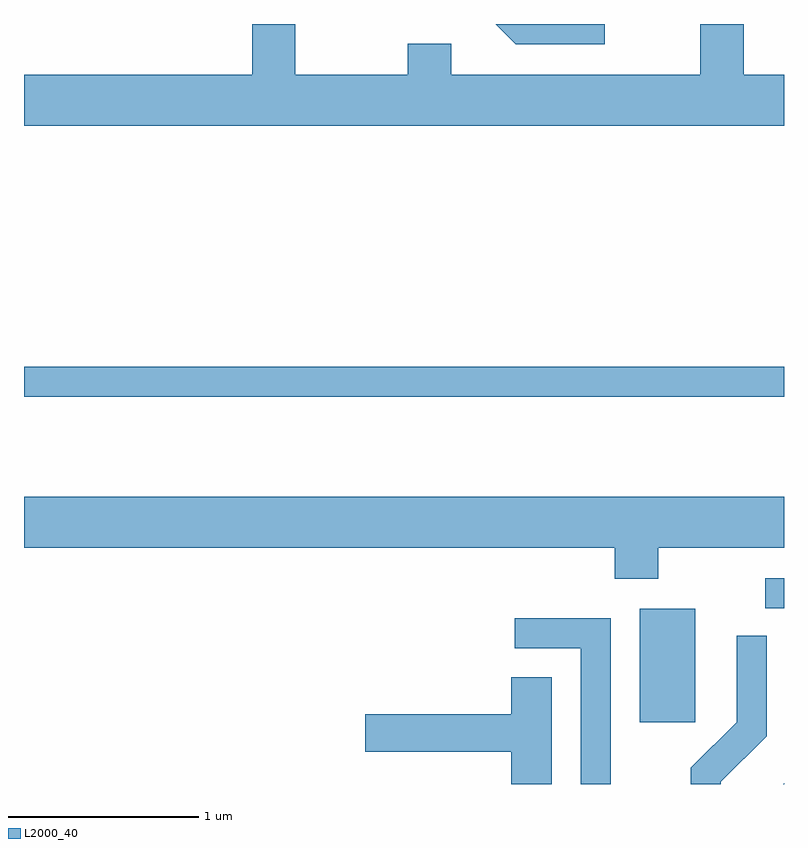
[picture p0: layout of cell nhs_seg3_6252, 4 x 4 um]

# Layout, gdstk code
import gdstk
lib = gdstk.Library(unit=1e-6, precision=1e-09)
def R(c, l, rs):  # rectangles x0, y0, x1, y1
    for r in rs: c.add(gdstk.rectangle(r[:2], r[2:], *l))
def P(c, l, *ps):  # polygons
    for p in ps: c.add(gdstk.Polygon(p, *l))
L2000_40 = (2000, 40)

nhs_seg3_6252 = lib.new_cell('nhs_seg3_6252')
R(nhs_seg3_6252, L2000_40, [(372.851,1116.216,373.144,1116.814), (373.513,1116.816,373.611,1116.974), (369.611,1117.931,373.611,1118.089)])
P(nhs_seg3_6252, L2000_40, [(373.611,1119.624),(373.399,1119.624),(373.399,1119.892),(373.171,1119.892),(373.171,1119.624),(371.859,1119.624),(371.859,1119.789),(371.631,1119.789),(371.631,1119.624),(371.039,1119.624),(371.039,1119.892),(370.811,1119.892),(370.811,1119.624),(369.611,1119.624),(369.611,1119.356),(373.611,1119.356)],
  [(372.668,1119.892),(372.093,1119.892),(372.199,1119.786),(372.668,1119.786)],
  [(372.949,1117.136),(373.611,1117.136),(373.611,1117.404),(369.611,1117.404),(369.611,1117.136),(372.721,1117.136),(372.721,1116.971),(372.949,1116.971)],
  [(372.699,1116.764),(372.193,1116.764),(372.193,1116.606),(372.541,1116.606),(372.541,1115.892),(372.699,1115.892)],
  [(373.279,1115.904),(373.519,1116.144),(373.519,1116.673),(373.361,1116.673),(373.361,1116.217),(373.121,1115.977),(373.121,1115.892),(373.279,1115.892)],
  [(372.389,1116.454),(372.176,1116.454),(372.176,1116.259),(371.406,1116.259),(371.406,1116.061),(372.176,1116.061),(372.176,1115.892),(372.389,1115.892)],
  [(373.611,1115.896),(373.607,1115.892),(373.611,1115.892)])

lib.write_gds('nhs_seg3_6252.gds')
